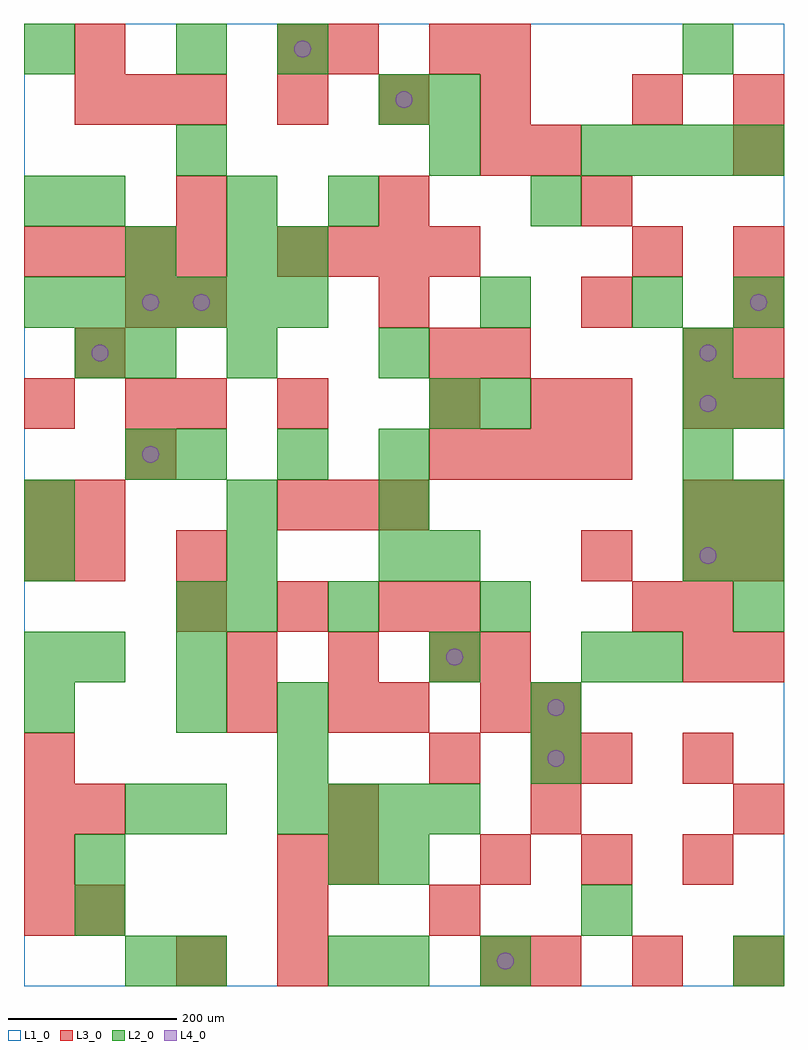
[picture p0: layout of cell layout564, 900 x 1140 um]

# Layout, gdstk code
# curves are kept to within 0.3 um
import gdstk
lib = gdstk.Library(unit=1e-6, precision=1e-09)
def R(c, l, rs):  # rectangles x0, y0, x1, y1
    for r in rs: c.add(gdstk.rectangle(r[:2], r[2:], *l))
def A(c, l, x, y, w, h, nx, ny, dx, dy):  # array of equal rectangles
    R(c, l, [(x+i*dx, y+j*dy, x+i*dx+w, y+j*dy+h) for i in range(nx) for j in range(ny)])
def P(c, l, *ps):  # polygons
    for p in ps: c.add(gdstk.Polygon(p, *l))
L1_0 = (1, 0)
L2_0 = (2, 0)
L3_0 = (3, 0)
L4_0 = (4, 0)

layout564 = lib.new_cell('layout564')
R(layout564, L1_0, [(0,0,900,1140)])
A(layout564, L2_0, 300, 180, 60, 60, 4, 1, 60, 0)
A(layout564, L2_0, 180, 300, 60, 60, 1, 3, 0, 60)
A(layout564, L2_0, 240, 420, 60, 60, 1, 3, 0, 60)
A(layout564, L2_0, 840, 420, 60, 60, 1, 3, 0, 60)
A(layout564, L2_0, 780, 480, 60, 60, 1, 5, 0, 60)
A(layout564, L2_0, 120, 600, 60, 60, 1, 3, 0, 120)
A(layout564, L2_0, 180, 600, 60, 60, 3, 1, 120, 0)
A(layout564, L2_0, 0, 780, 60, 60, 6, 1, 60, 0)
A(layout564, L2_0, 660, 960, 60, 60, 4, 1, 60, 0)
R(layout564, L2_0, [(120,0,180,60), (180,0,240,60), (360,0,420,60), (420,0,480,60), (540,0,600,60), (840,0,900,60), (60,60,120,120), (660,60,720,120), (60,120,120,180), (360,120,420,180), (420,120,480,180), (120,180,180,240), (180,180,240,240), (300,240,360,300), (600,240,660,300), (0,300,60,360), (300,300,360,360), (600,300,660,360), (0,360,60,420), (60,360,120,420), (480,360,540,420), (660,360,720,420), (720,360,780,420), (360,420,420,480), (540,420,600,480), (0,480,60,540), (420,480,480,540), (480,480,540,540), (0,540,60,600), (420,540,480,600), (480,660,540,720), (540,660,600,720), (840,660,900,720), (60,720,120,780), (240,720,300,780), (420,720,480,780), (540,780,600,840), (720,780,780,840), (840,780,900,840), (240,840,300,900), (300,840,360,900), (0,900,60,960), (60,900,120,960), (240,900,300,960), (360,900,420,960), (600,900,660,960), (180,960,240,1020), (480,960,540,1020), (420,1020,480,1080), (480,1020,540,1080), (0,1080,60,1140), (180,1080,240,1140), (300,1080,360,1140), (780,1080,840,1140)])
A(layout564, L3_0, 300, 0, 60, 60, 1, 3, 0, 60)
A(layout564, L3_0, 600, 0, 60, 60, 3, 1, 120, 0)
A(layout564, L3_0, 0, 60, 60, 60, 1, 4, 0, 60)
A(layout564, L3_0, 480, 60, 60, 60, 1, 3, 0, 180)
A(layout564, L3_0, 540, 120, 60, 60, 3, 1, 120, 0)
A(layout564, L3_0, 360, 180, 60, 60, 3, 1, 240, 0)
A(layout564, L3_0, 240, 360, 60, 60, 3, 1, 120, 0)
A(layout564, L3_0, 780, 360, 60, 60, 1, 4, 0, 60)
A(layout564, L3_0, 180, 420, 60, 60, 3, 1, 120, 0)
A(layout564, L3_0, 300, 540, 60, 60, 3, 1, 60, 0)
A(layout564, L3_0, 480, 600, 60, 60, 4, 1, 60, 0)
A(layout564, L3_0, 840, 660, 60, 60, 1, 4, 0, 60)
A(layout564, L3_0, 180, 780, 60, 60, 3, 2, 240, 120)
A(layout564, L3_0, 0, 840, 60, 60, 4, 1, 60, 0)
A(layout564, L3_0, 300, 840, 60, 60, 4, 1, 60, 0)
A(layout564, L3_0, 60, 1020, 60, 60, 3, 1, 60, 0)
A(layout564, L3_0, 300, 1020, 60, 60, 3, 1, 120, 0)
R(layout564, L3_0, [(180,0,240,60), (540,0,600,60), (60,60,120,120), (360,120,420,180), (60,180,120,240), (600,240,660,300), (660,240,720,300), (780,240,840,300), (240,300,300,360), (360,300,420,360), (420,300,480,360), (540,300,600,360), (600,300,660,360), (540,360,600,420), (840,360,900,420), (720,420,780,480), (0,480,60,540), (60,480,120,540), (180,480,240,540), (660,480,720,540), (840,480,900,540), (0,540,60,600), (60,540,120,600), (840,540,900,600), (120,600,180,660), (0,660,60,720), (120,660,180,720), (180,660,240,720), (300,660,360,720), (480,660,540,720), (600,660,660,720), (660,660,720,720), (780,660,840,720), (60,720,120,780), (480,720,540,780), (540,720,600,780), (780,720,840,780), (120,780,180,840), (720,840,780,900), (540,960,600,1020), (600,960,660,1020), (840,960,900,1020), (720,1020,780,1080), (840,1020,900,1080), (60,1080,120,1140), (300,1080,360,1140), (360,1080,420,1140), (480,1080,540,1140), (540,1080,600,1140)])
P(layout564, L4_0, [(100,750),(99.239,753.827),(97.071,757.071),(93.827,759.239),(90,760),(86.173,759.239),(82.929,757.071),(80.761,753.827),(80,750),(80.761,746.173),(82.929,742.929),(86.173,740.761),(90,740),(93.827,740.761),(97.071,742.929),(99.239,746.173)],
  [(160,630),(159.239,633.827),(157.071,637.071),(153.827,639.239),(150,640),(146.173,639.239),(142.929,637.071),(140.761,633.827),(140,630),(140.761,626.173),(142.929,622.929),(146.173,620.761),(150,620),(153.827,620.761),(157.071,622.929),(159.239,626.173)],
  [(160,810),(159.239,813.827),(157.071,817.071),(153.827,819.239),(150,820),(146.173,819.239),(142.929,817.071),(140.761,813.827),(140,810),(140.761,806.173),(142.929,802.929),(146.173,800.761),(150,800),(153.827,800.761),(157.071,802.929),(159.239,806.173)],
  [(220,810),(219.239,813.827),(217.071,817.071),(213.827,819.239),(210,820),(206.173,819.239),(202.929,817.071),(200.761,813.827),(200,810),(200.761,806.173),(202.929,802.929),(206.173,800.761),(210,800),(213.827,800.761),(217.071,802.929),(219.239,806.173)],
  [(340,1110),(339.239,1113.827),(337.071,1117.071),(333.827,1119.239),(330,1120),(326.173,1119.239),(322.929,1117.071),(320.761,1113.827),(320,1110),(320.761,1106.173),(322.929,1102.929),(326.173,1100.761),(330,1100),(333.827,1100.761),(337.071,1102.929),(339.239,1106.173)],
  [(460,1050),(459.239,1053.827),(457.071,1057.071),(453.827,1059.239),(450,1060),(446.173,1059.239),(442.929,1057.071),(440.761,1053.827),(440,1050),(440.761,1046.173),(442.929,1042.929),(446.173,1040.761),(450,1040),(453.827,1040.761),(457.071,1042.929),(459.239,1046.173)],
  [(520,390),(519.239,393.827),(517.071,397.071),(513.827,399.239),(510,400),(506.173,399.239),(502.929,397.071),(500.761,393.827),(500,390),(500.761,386.173),(502.929,382.929),(506.173,380.761),(510,380),(513.827,380.761),(517.071,382.929),(519.239,386.173)],
  [(580,30),(579.239,33.827),(577.071,37.071),(573.827,39.239),(570,40),(566.173,39.239),(562.929,37.071),(560.761,33.827),(560,30),(560.761,26.173),(562.929,22.929),(566.173,20.761),(570,20),(573.827,20.761),(577.071,22.929),(579.239,26.173)],
  [(640,270),(639.239,273.827),(637.071,277.071),(633.827,279.239),(630,280),(626.173,279.239),(622.929,277.071),(620.761,273.827),(620,270),(620.761,266.173),(622.929,262.929),(626.173,260.761),(630,260),(633.827,260.761),(637.071,262.929),(639.239,266.173)],
  [(640,330),(639.239,333.827),(637.071,337.071),(633.827,339.239),(630,340),(626.173,339.239),(622.929,337.071),(620.761,333.827),(620,330),(620.761,326.173),(622.929,322.929),(626.173,320.761),(630,320),(633.827,320.761),(637.071,322.929),(639.239,326.173)],
  [(820,510),(819.239,513.827),(817.071,517.071),(813.827,519.239),(810,520),(806.173,519.239),(802.929,517.071),(800.761,513.827),(800,510),(800.761,506.173),(802.929,502.929),(806.173,500.761),(810,500),(813.827,500.761),(817.071,502.929),(819.239,506.173)],
  [(820,690),(819.239,693.827),(817.071,697.071),(813.827,699.239),(810,700),(806.173,699.239),(802.929,697.071),(800.761,693.827),(800,690),(800.761,686.173),(802.929,682.929),(806.173,680.761),(810,680),(813.827,680.761),(817.071,682.929),(819.239,686.173)],
  [(820,750),(819.239,753.827),(817.071,757.071),(813.827,759.239),(810,760),(806.173,759.239),(802.929,757.071),(800.761,753.827),(800,750),(800.761,746.173),(802.929,742.929),(806.173,740.761),(810,740),(813.827,740.761),(817.071,742.929),(819.239,746.173)],
  [(880,810),(879.239,813.827),(877.071,817.071),(873.827,819.239),(870,820),(866.173,819.239),(862.929,817.071),(860.761,813.827),(860,810),(860.761,806.173),(862.929,802.929),(866.173,800.761),(870,800),(873.827,800.761),(877.071,802.929),(879.239,806.173)])

lib.write_gds('layout564.gds')
